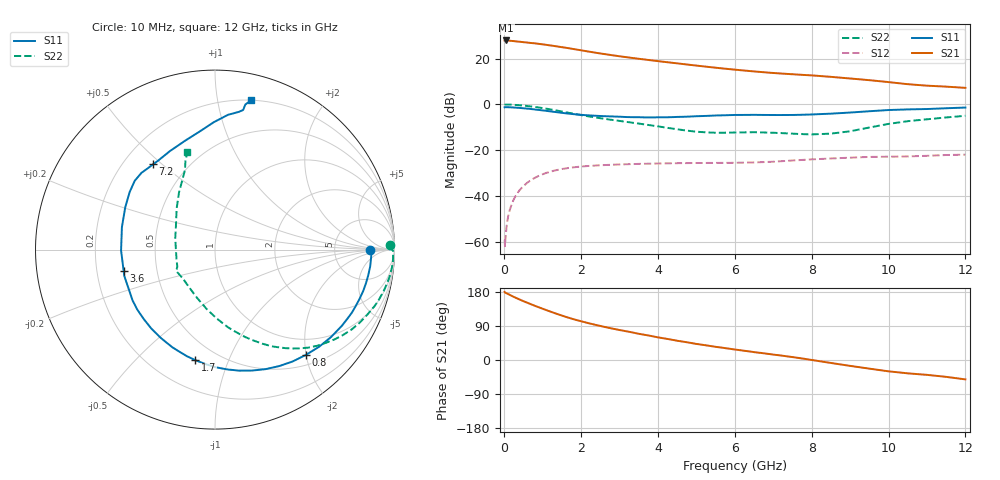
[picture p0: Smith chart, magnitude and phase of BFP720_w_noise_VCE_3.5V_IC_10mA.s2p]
! Infineon Technologies  Discrete & RF Semiconductors
! BFP720
! VCE =  3.5 V,  IC =  10 mA
! Common Emitter S-Parameters:  Aug 2012
# GHz  S  MA  R  50
!  f  S11  S21  S12  S22
! GHz  MAG  ANG  MAG  ANG  MAG  ANG  MAG  ANG
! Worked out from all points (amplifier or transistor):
!   105 points, 10 MHz to 12 GHz, reference 50 ohm
!   highest |S21| = 28.0 dB at 50 MHz (marker M1)
!   |S21| within 3 dB of that: start of sweep to 1.529 GHz
!   unconditionally stable (mu >= 1): 5.488 GHz to 11.19 GHz
!   at 300 MHz: K = 0.10, MSG = 33.7 dB, |S12| = -39.9 dB
!   at 3.6 GHz: K = 0.70, MSG = 22.8 dB, |S12| = -26.0 dB
!   at 12 GHz: K = 0.78, MSG = 14.6 dB, |S12| = -21.9 dB
!   lowest NFmin = 0.53 dB at 450 MHz
!   S11 on the Smith chart (normalised r, x): 10 MHz: 14, +0; 800 MHz: 0.68, -1.99; 1.7 GHz: 0.38, -0.76; 3.6 GHz: 0.32, -0.10; 7.2 GHz: 0.32, +0.47; 12 GHz: 0.20, +1.25
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0.01  0.8648 -0.0  24.87 179.6  0.0011 -78.5  0.9743 1.4
0.02  0.8714 -1.1  24.81 177.9  0.0008 82.3  0.9921 -0.5
0.05  0.8709 -3.1  24.99 176.6  0.0017 85.0  0.9929 -1.8
0.25  0.8573 -15.6  24.2 166.5  0.0085 79.7  0.9809 -9.9
0.45  0.8315 -27.8  23.17 157.4  0.0149 73.6  0.9519 -17.7
0.8  0.7747 -49.3  21.61 142.9  0.025 62.9  0.8818 -30.3
1  0.7408 -61.2  20.54 135.3  0.0298 57.1  0.8324 -37.0
1.2  0.7053 -72.8  19.46 127.8  0.0339 51.6  0.7806 -43.4
1.4  0.6716 -84.0  18.36 120.7  0.0373 46.6  0.7275 -49.1
1.7  0.6258 -100.1  16.78 110.8  0.0412 40.2  0.6511 -56.8
2.1  0.5841 -117.6  14.73 99.7  0.0446 33.3  0.5664 -65.3
2.4  0.5651 -128.9  13.39 92.1  0.0464 29.2  0.5149 -71.0
2.8  0.5471 -142.3  11.92 83.2  0.0481 24.9  0.4598 -77.6
3.6  0.5226 -167.0  9.707 67.4  0.0504 18.6  0.3712 -90.6
4.1  0.5228 177.7  8.64 58.1  0.0514 15.7  0.3221 -100.5
5  0.5526 154.9  7.059 42.4  0.0525 11.5  0.2541 -124.9
6.1  0.5892 138.3  5.65 26.4  0.0533 9.4  0.2443 -148.2
7.2  0.587 126.0  4.739 11.8  0.0574 9.7  0.2364 -153.9
8.5  0.6289 105.4  4.003 -7.8  0.0659 5.0  0.2302 164.2
9.5  0.7102 90.5  3.388 -22.8  0.0713 -0.4  0.3129 133.1
10.5  0.7787 80.2  2.769 -35.2  0.0731 -5.4  0.4304 114.9
12  0.8545 76.5  2.301 -51.2  0.0799 -13.2  0.5647 105.8
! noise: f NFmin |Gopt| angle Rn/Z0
0.45  0.53  0.29  1  0.21
1.8  0.58  0.26  18  0.12
2.4  0.64  0.23  38  0.29
5.5  0.78  0.11  20  0.14
10  0.97  0.4  -78  0.22
